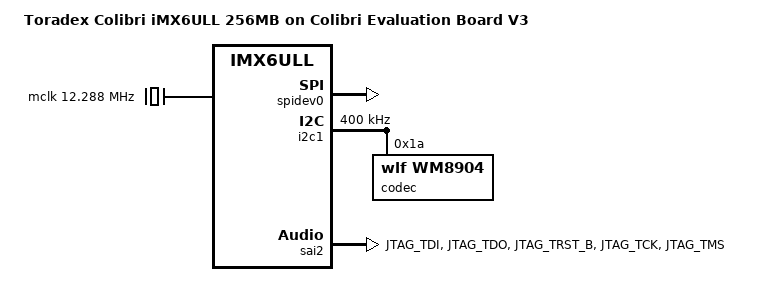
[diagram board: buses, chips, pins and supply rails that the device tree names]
// SPDX-License-Identifier: (GPL-2.0 OR MIT)
/*
 * Copyright 2018-2021 Toradex
 */

/dts-v1/;


#include "imx6ull-colibri.dtsi"      	 //kartikeya
#include "imx6ull-colibri-nonwifi.dtsi"
#include "imx6ull-colibri-eval-v3.dtsi"

/ {
	model = "Toradex Colibri iMX6ULL 256MB on Colibri Evaluation Board V3"; 
	compatible = "toradex,colibri-imx6ull-eval",				
		     "toradex,colibri-imx6ull",					
		     "fsl,imx6ull";					

	clocks {
		mclk: mclk {
			compatible = "fixed-clock";
			#clock-cells = <0>;
			clock-frequency = <12288000>;
		};
	};

	sound {
		compatible = "fsl,imx6ul-evk-wm8904",
			   "fsl,imx-audio-wm8904";
		model = "wm8904-audio";
		cpu-dai = <&sai2>;
		audio-codec = <&codec>;
		asrc-controller = <&asrc>;
		gpr = <&gpr>;
		audio-routing =
			"Headphone Jack", "HPOUTL",
			"Headphone Jack", "HPOUTR",
			"IN2L", "Line In Jack",
			"IN2R", "Line In Jack",
			"Mic Jack", "MICBIAS",
			"IN1L", "Mic Jack";
    };
};

&spidev0 {
	status = "okay";
};

&i2c1 {
	clock-frequency = <400000>;
	pinctrl-names = "default";
	pinctrl-0 = <&pinctrl_i2c1>;
	status = "okay";

	codec: wm8904@1a {
		compatible = "wlf,wm8904";
		reg = <0x1a>;
		clocks = <&clks IMX6UL_CLK_SAI2>;
		clock-names = "mclk";
	};
};

&iomuxc {
	imx6ull-colibri {
		pinctrl_sai2: sai2grp {
			fsl,pins = <
				MX6UL_PAD_JTAG_TDI__SAI2_TX_BCLK	0x17088
				MX6UL_PAD_JTAG_TDO__SAI2_TX_SYNC	0x17088
				MX6UL_PAD_JTAG_TRST_B__SAI2_TX_DATA	0x11088
				MX6UL_PAD_JTAG_TCK__SAI2_RX_DATA	0x11088
				MX6UL_PAD_JTAG_TMS__SAI2_MCLK		0x17088
			>;
		};
		pinctrl_htrc: htrcgrp {
			fsl,pins = <
				MX6UL_PAD_ENET1_TX_CLK__GPIO2_IO06 0x74
				MX6UL_PAD_CSI_DATA07__GPIO4_IO28	0x74
				MX6UL_PAD_CSI_DATA04__GPIO4_IO25	0x74
			>;
		};
	};
};

&sai2 {
	pinctrl-names = "default";
	pinctrl-0 = <&pinctrl_sai2>;

	assigned-clocks = <&clks IMX6UL_CLK_SAI2_SEL>,
			  <&clks IMX6UL_CLK_SAI2>;
	assigned-clock-parents = <&clks IMX6UL_CLK_PLL4_AUDIO_DIV>;
	assigned-clock-rates = <0>, <12288000>;

	status = "okay";
};
